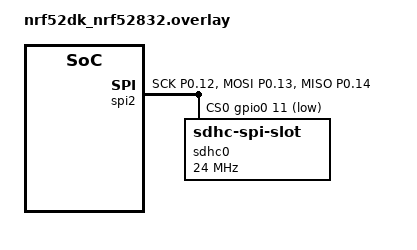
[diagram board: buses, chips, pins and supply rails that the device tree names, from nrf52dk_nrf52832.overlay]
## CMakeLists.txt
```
# SPDX-License-Identifier: Apache-2.0

cmake_minimum_required(VERSION 3.20.0)
find_package(Zephyr REQUIRED HINTS $ENV{ZEPHYR_BASE})
project(example_fs_sample)

FILE(GLOB app_sources src/*.c)
target_sources(app PRIVATE ${app_sources})
```

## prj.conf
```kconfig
CONFIG_DISK_ACCESS=y
CONFIG_LOG=y
CONFIG_FILE_SYSTEM=y
CONFIG_FAT_FILESYSTEM_ELM=y
CONFIG_PRINTK=y
CONFIG_MAIN_STACK_SIZE=2048

CONFIG_GPIO=y
CONFIG_SPI=y
CONFIG_FS_SAMPLE_CREATE_SOME_ENTRIES=y
CONFIG_DISK_DRIVER_SDMMC=y

# CONFIG_NRFX_GPIOTE=y
```

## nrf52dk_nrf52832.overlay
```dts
&pinctrl {
	spi2_default: spi2_default {
		group1 {
			psels = <NRF_PSEL(SPIM_SCK, 0, 12)>,
				<NRF_PSEL(SPIM_MOSI, 0, 13)>,
				<NRF_PSEL(SPIM_MISO, 0, 14)>;
		};
	};

	spi2_sleep: spi2_sleep {
		group1 {
			psels = <NRF_PSEL(SPIM_SCK, 0, 12)>,
				<NRF_PSEL(SPIM_MOSI, 0, 13)>,
				<NRF_PSEL(SPIM_MISO, 0, 14)>;
			low-power-enable;
		};
	};
};

&spi2 {
	compatible = "nordic,nrf-spi";
	status = "okay";
	cs-gpios = <&gpio0 11 GPIO_ACTIVE_LOW>;
	pinctrl-0 = <&spi2_default>;
	pinctrl-1 = <&spi2_sleep>;

	sdhc0:sdhc@0 {
		compatible = "zephyr,sdhc-spi-slot";
		reg = <0x0>;
		status = "okay";
		spi-max-frequency = <24000000>;
		mmc {
			compatible = "zephyr,sdmmc-disk";
			status = "okay";
			//disk-name = "SD"; //only for 3.7.0 and beyond
		};
	};

	pinctrl-names = "default", "sleep";
};
```

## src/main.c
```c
/*
 * Copyright (c) 2019 Tavish Naruka <tavishnaruka@gmail.com>
 * Copyright (c) 2023 Nordic Semiconductor ASA
 * Copyright (c) 2023 Antmicro <www.antmicro.com>
 *
 * SPDX-License-Identifier: Apache-2.0
 */

/* Sample which uses the filesystem API and SDHC driver */

#include <zephyr/kernel.h>
#include <zephyr/device.h>
#include <zephyr/storage/disk_access.h>
#include <zephyr/logging/log.h>
#include <zephyr/fs/fs.h>
#include <ff.h>

/*
 *  Note the fatfs library is able to mount only strings inside _VOLUME_STRS
 *  in ffconf.h
 */
static const char *disk_mount_pt = "/SD:";

static FATFS fat_fs;
/* mounting info */
static struct fs_mount_t mp = {
	.type = FS_FATFS,
	.fs_data = &fat_fs,
};

LOG_MODULE_REGISTER(main);

#define MAX_PATH 128
#define SOME_FILE_NAME "some.dat"
#define SOME_DIR_NAME "some"
#define SOME_REQUIRED_LEN MAX(sizeof(SOME_FILE_NAME), sizeof(SOME_DIR_NAME))

static int lsdir(const char *path);

static bool create_some_entries(const char *base_path)
{
	char path[MAX_PATH];
	struct fs_file_t file;
	int base = strlen(base_path);

	fs_file_t_init(&file);

	if (base >= (sizeof(path) - SOME_REQUIRED_LEN)) {
		LOG_ERR("Not enough concatenation buffer to create file paths");
		return false;
	}

	LOG_INF("Creating some dir entries in %s", base_path);
	strncpy(path, base_path, sizeof(path));

	path[base++] = '/';
	path[base] = 0;
	strcat(&path[base], SOME_FILE_NAME);

	if (fs_open(&file, path, FS_O_CREATE | FS_O_RDWR | FS_O_APPEND) != 0) {
		LOG_ERR("Failed to create file %s", path);
		return false;
	}
	fs_close(&file);

	path[base] = 0;
	strcat(&path[base], SOME_DIR_NAME);

	if (fs_mkdir(path) != 0) {
		LOG_ERR("Failed to create dir %s", path);
		/* If code gets here, it has at least successes to create the
		 * file so allow function to return true.
		 */
	}
	return true;
}

int main(void)
{
	/* raw disk i/o */
	do {
		static const char *disk_pdrv = "SD";
		uint64_t memory_size_mb;
		uint32_t block_count;
		uint32_t block_size;

		if (disk_access_init(disk_pdrv) != 0) {
			LOG_ERR("Storage init ERROR!");
			break;
		}

		if (disk_access_ioctl(disk_pdrv,
				DISK_IOCTL_GET_SECTOR_COUNT, &block_count)) {
			LOG_ERR("Unable to get sector count");
			break;
		}
		LOG_INF("Block count %u", block_count);

		if (disk_access_ioctl(disk_pdrv,
				DISK_IOCTL_GET_SECTOR_SIZE, &block_size)) {
			LOG_ERR("Unable to get sector size");
			break;
		}
		printk("Sector size %u\n", block_size);

		memory_size_mb = (uint64_t)block_count * block_size;
		printk("Memory Size(MB) %u\n", (uint32_t)(memory_size_mb >> 20));
	} while (0);

	mp.mnt_point = disk_mount_pt;

	int res = fs_mount(&mp);

	if (res == FR_OK) {
		printk("Disk mounted.\n");
		if (lsdir(disk_mount_pt) < 0) {
			LOG_ERR("Error opening directory using lsdir()");
		}
		if (create_some_entries(disk_mount_pt)) {
			printk("Successfully wrote some entries");
		}
	} 
	else {
		printk("Error mounting disk.\n");
	}

	fs_unmount(&mp);
	printk("Filesystem unmounted\n");

	while (1) {
		k_sleep(K_MSEC(1000));
	}
	return 0;
}

/* List dir entry by path
 *
 * @param path Absolute path to list
 *
 * @return Negative errno code on error, number of listed entries on
 *         success.
 */
static int lsdir(const char *path)
{
	int res;
	struct fs_dir_t dirp;
	static struct fs_dirent entry;
	int count = 0;

	fs_dir_t_init(&dirp);

	/* Verify fs_opendir() */
	res = fs_opendir(&dirp, path);
	if (res) {
		printk("Error opening dir %s [%d]\n", path, res);
		return res;
	}

	printk("\nListing dir %s ...\n", path);
	for (;;) {
		/* Verify fs_readdir() */
		res = fs_readdir(&dirp, &entry);

		/* entry.name[0] == 0 means end-of-dir */
		if (res || entry.name[0] == 0) {
			break;
		}

		if (entry.type == FS_DIR_ENTRY_DIR) {
			printk("[DIR ] %s\n", entry.name);
		} else {
			printk("[FILE] %s (size = %zu)\n",
				entry.name, entry.size);
		}
		count++;
	}

	/* Verify fs_closedir() */
	fs_closedir(&dirp);
	if (res == 0) {
		res = count;
	}

	return res;
}
```
